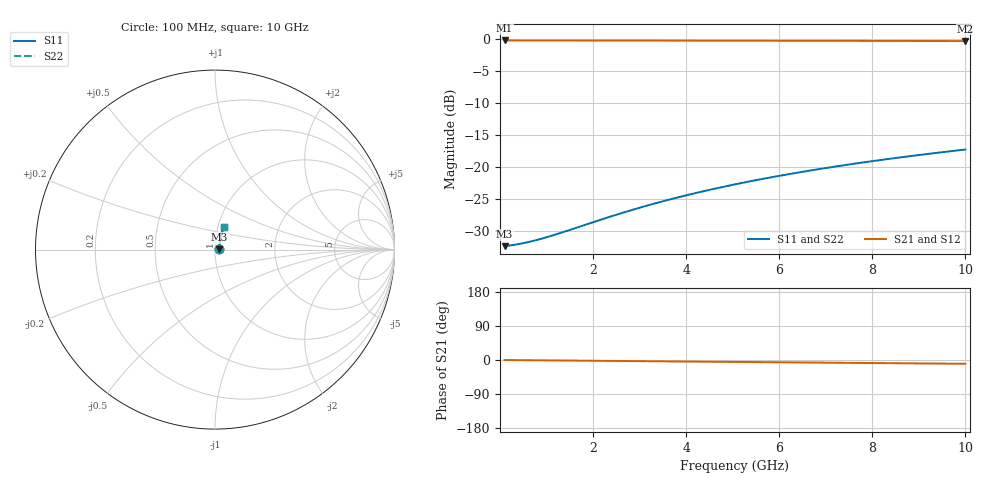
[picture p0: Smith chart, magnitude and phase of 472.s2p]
# Hz S RI R 50.00
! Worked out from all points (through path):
!   100 points, 100 MHz to 10 GHz, reference 50 ohm
!   highest |S21| = -0.21 dB at 100 MHz (marker M1); lowest = -0.3 dB at 10 GHz (marker M2)
!   group delay of S21, straight-line fit = 2.78 ps
!   lowest |S11| = -32.4 dB at 100 MHz (marker M3), VSWR 1.05, Z = 52.4 + j0.138 ohm
!   |S11| at or under -10 dB: start of sweep to end of sweep
!   |S22| runs from -32.4 to -17.3 dB; largest |S21 - S12| = 0
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1e8  0.0239 0.00132  0.9761 -0.00171  0.9761 -0.00171  0.0239 0.00132
3e8  0.0242 0.00395  0.9758 -0.00514  0.9758 -0.00514  0.0242 0.00395
5e8  0.0244 0.00658  0.9756 -0.00856  0.9756 -0.00856  0.0244 0.00658
8e8  0.0246 0.0105  0.9754 -0.0137  0.9754 -0.0137  0.0246 0.0105
1e9  0.0248 0.0131  0.9752 -0.0171  0.9752 -0.0171  0.0248 0.0131
1.2e9  0.025 0.0158  0.975 -0.0205  0.975 -0.0205  0.025 0.0158
1.8e9  0.0256 0.0236  0.9744 -0.0308  0.9744 -0.0308  0.0256 0.0236
2.2e9  0.0261 0.0289  0.9739 -0.0376  0.9739 -0.0376  0.0261 0.0289
2.6e9  0.0266 0.0341  0.9733 -0.0444  0.9733 -0.0444  0.0266 0.0341
3e9  0.0272 0.0393  0.9727 -0.0512  0.9727 -0.0512  0.0272 0.0393
3.4e9  0.0279 0.0445  0.972 -0.058  0.972 -0.058  0.0279 0.0445
3.8e9  0.0286 0.0497  0.9713 -0.0648  0.9713 -0.0648  0.0286 0.0497
4.2e9  0.0294 0.0549  0.9704 -0.0715  0.9704 -0.0715  0.0294 0.0549
4.6e9  0.0303 0.06  0.9695 -0.0783  0.9695 -0.0783  0.0303 0.06
5.1e9  0.0315 0.0664  0.9683 -0.0867  0.9683 -0.0867  0.0315 0.0664
5.5e9  0.0325 0.0716  0.9673 -0.0934  0.9673 -0.0934  0.0325 0.0716
5.9e9  0.0336 0.0767  0.9661 -0.1001  0.9661 -0.1001  0.0336 0.0767
6.7e9  0.0359 0.0868  0.9637 -0.1134  0.9637 -0.1134  0.0359 0.0868
7.5e9  0.0386 0.0969  0.9609 -0.1267  0.9609 -0.1267  0.0386 0.0969
8.4e9  0.0419 0.1081  0.9575 -0.1414  0.9575 -0.1414  0.0419 0.1081
9.2e9  0.0451 0.1179  0.9542 -0.1545  0.9542 -0.1545  0.0451 0.1179
1e10  0.0486 0.1276  0.9506 -0.1674  0.9506 -0.1674  0.0486 0.1276
